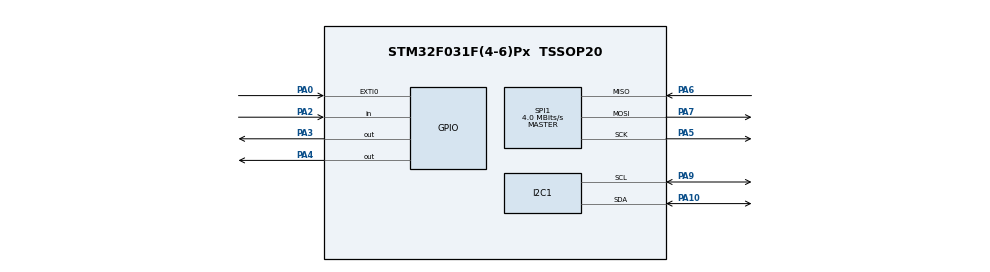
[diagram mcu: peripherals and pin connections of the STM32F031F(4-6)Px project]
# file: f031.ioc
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ADC.ClockPrescaler=ADC_CLOCK_ASYNC_DIV1
ADC.ContinuousConvMode=ENABLE
ADC.DMAContinuousRequests=DISABLE
ADC.DataAlign=ADC_DATAALIGN_RIGHT
ADC.DiscontinuousConvMode=DISABLE
ADC.EOCSelection=ADC_EOC_SINGLE_CONV
ADC.EnableAnalogWatchDog=false
ADC.ExternalTrigConv=ADC_SOFTWARE_START
ADC.ExternalTrigConvEdge=ADC_EXTERNALTRIGCONVEDGE_NONE
ADC.LowPowerAutoPowerOff=DISABLE
ADC.LowPowerAutoWait=DISABLE
ADC.Overrun=ADC_OVR_DATA_PRESERVED
ADC.Resolution=ADC_RESOLUTION_12B
ADC.SamplingTime=ADC_SAMPLETIME_7CYCLES_5
ADC.ScanConvMode=ADC_SCAN_DIRECTION_FORWARD
Dma.ADC.0.Direction=DMA_PERIPH_TO_MEMORY
Dma.ADC.0.Instance=DMA1_Channel1
Dma.ADC.0.MemDataAlignment=DMA_MDATAALIGN_WORD
Dma.ADC.0.MemInc=DMA_MINC_ENABLE
Dma.ADC.0.Mode=DMA_CIRCULAR
Dma.ADC.0.PeriphDataAlignment=DMA_PDATAALIGN_WORD
Dma.ADC.0.PeriphInc=DMA_PINC_DISABLE
Dma.ADC.0.Priority=DMA_PRIORITY_LOW
Dma.Request0=ADC
Mcu.Family=STM32F0
Mcu.Name=STM32F031F(4-6)Px
Mcu.Package=TSSOP20
NVIC.DMA1_Channel1_IRQn=true\:0\:0\:false\:false\:true\:false
NVIC.EXTI0_1_IRQn=true\:0\:0\:false\:true\:true\:1\:true
NVIC.RTC_IRQn=true\:0\:0\:false\:false\:true\:true
PA0.GPIO_PuPd=GPIO_PULLDOWN
PA0.Signal=GPXTI0
PA10.Mode=I2C
PA10.Signal=I2C1_SDA
PA13.Mode=Serial_Wire
PA13.Signal=SYS_SWDIO
PA14.Mode=Serial_Wire
PA14.Signal=SYS_SWCLK
PA2.Signal=GPIO_Input
PA3.Signal=GPIO_Output
PA4.Signal=GPIO_Output
PA5.Mode=Full_Duplex_Master
PA5.Signal=SPI1_SCK
PA6.Mode=Full_Duplex_Master
PA6.Signal=SPI1_MISO
PA7.Mode=Full_Duplex_Master
PA7.Signal=SPI1_MOSI
PA9.Mode=I2C
PA9.Signal=I2C1_SCL
ProjectManager.HeapSize=0x200
ProjectManager.StackSize=0x400
ProjectManager.TargetToolchain=SW4STM32
RCC.VDD_VALUE=3
RTC.Alarm=RTC_ALARM_A
RTC.Seconds_A=30
SPI1.CalculateBaudRate=4.0 MBits/s
SPI1.DataSize=SPI_DATASIZE_8BIT
SPI1.Direction=SPI_DIRECTION_2LINES
SPI1.Mode=SPI_MODE_MASTER
SPI1.VirtualType=VM_MASTER
VP_ADC_Vbat_Input.Mode=IN-Vbat
VP_RTC_VS_RTC_Activate.Mode=RTC_Enabled
VP_RTC_VS_RTC_Alarm_A_Intern.Mode=Alarm A
VP_RTC_VS_RTC_Calendar.Mode=RTC_Calendar
board=custom

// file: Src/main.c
/**
  ******************************************************************************
  * @file           : main.c
  * @brief          : Main program body
  ******************************************************************************
  ** This notice applies to any and all portions of this file
  * that are not between comment pairs USER CODE BEGIN and
  * USER CODE END. Other portions of this file, whether
  * inserted by the user or by software development tools
  * are owned by their respective copyright owners.
  *
  * COPYRIGHT(c) 2020 STMicroelectronics
  *
  * Redistribution and use in source and binary forms, with or without modification,
  * are permitted provided that the following conditions are met:
  *   1. Redistributions of source code must retain the above copyright notice,
  *      this list of conditions and the following disclaimer.
  *   2. Redistributions in binary form must reproduce the above copyright notice,
  *      this list of conditions and the following disclaimer in the documentation
  *      and/or other materials provided with the distribution.
  *   3. Neither the name of STMicroelectronics nor the names of its contributors
  *      may be used to endorse or promote products derived from this software
  *      without specific prior written permission.
  *
  * THIS SOFTWARE IS PROVIDED BY THE COPYRIGHT HOLDERS AND CONTRIBUTORS "AS IS"
  * AND ANY EXPRESS OR IMPLIED WARRANTIES, INCLUDING, BUT NOT LIMITED TO, THE
  * IMPLIED WARRANTIES OF MERCHANTABILITY AND FITNESS FOR A PARTICULAR PURPOSE ARE
  * DISCLAIMED. IN NO EVENT SHALL THE COPYRIGHT HOLDER OR CONTRIBUTORS BE LIABLE
  * FOR ANY DIRECT, INDIRECT, INCIDENTAL, SPECIAL, EXEMPLARY, OR CONSEQUENTIAL
  * DAMAGES (INCLUDING, BUT NOT LIMITED TO, PROCUREMENT OF SUBSTITUTE GOODS OR
  * SERVICES; LOSS OF USE, DATA, OR PROFITS; OR BUSINESS INTERRUPTION) HOWEVER
  * CAUSED AND ON ANY THEORY OF LIABILITY, WHETHER IN CONTRACT, STRICT LIABILITY,
  * OR TORT (INCLUDING NEGLIGENCE OR OTHERWISE) ARISING IN ANY WAY OUT OF THE USE
  * OF THIS SOFTWARE, EVEN IF ADVISED OF THE POSSIBILITY OF SUCH DAMAGE.
  *
  ******************************************************************************
  */
#include "main.h"
#include "stm32f0xx_hal.h"

/* USER CODE BEGIN Includes */
#include "bmp280.h"
#include <RFM69.h>

#define ENCRYPTKEY  "sampleEncryptKey"
/* USER CODE END Includes */

ADC_HandleTypeDef hadc;
DMA_HandleTypeDef hdma_adc;

I2C_HandleTypeDef hi2c1;

RTC_HandleTypeDef hrtc;

SPI_HandleTypeDef hspi1;

/* USER CODE BEGIN PV */
/* Private variables ---------------------------------------------------------*/
RTC_AlarmTypeDef setAlarm;
BMP280_HandleTypedef bmp280;

float pressure ,temperature ,humidity ,pas;
uint16_t size;
uint8_t Data[256];

uint32_t time = 0;

typedef struct {
  uint8_t command;
  uint8_t id;
  uint8_t status;
  uint16_t remote_command;
  int16_t data_power;
  int16_t data_1;
  int16_t data_2;
  int16_t data_3;
  int16_t data_4;
} TData;

TData theData;

uint16_t counter = 0;
uint32_t voltage = 0;
uint32_t adc_raw = 0;
double Vbat = 0;

/* USER CODE END PV */

void SystemClock_Config (void);

static void MX_GPIO_Init (void);

static void MX_DMA_Init (void);

static void MX_I2C1_Init (void);

static void MX_SPI1_Init (void);

static void MX_RTC_Init (void);

static void MX_ADC_Init (void);

static void MX_NVIC_Init (void);

/* USER CODE BEGIN PFP */
/* Private function prototypes -----------------------------------------------*/

/* USER CODE END PFP */

/* USER CODE BEGIN 0 */
void HAL_ADC_ConvCpltCallback (ADC_HandleTypeDef *hadc2) {
  if( hadc2->Instance == ADC1)
    voltage = adc_raw;
  voltage = HAL_ADC_GetValue (&hadc);

}

void Set_Alarm (uint8_t sec) {
  /**Enable the Alarm A
*/
  setAlarm.AlarmTime.Hours = 0x0;
  setAlarm.AlarmTime.Minutes = 0x0;
  setAlarm.AlarmTime.Seconds = sec;
  setAlarm.AlarmTime.SubSeconds = 0x0;
  setAlarm.AlarmTime.DayLightSaving = RTC_DAYLIGHTSAVING_NONE;
  setAlarm.AlarmTime.StoreOperation = RTC_STOREOPERATION_RESET;
  setAlarm.AlarmMask = RTC_ALARMMASK_NONE;
  setAlarm.AlarmSubSecondMask = RTC_ALARMSUBSECONDMASK_ALL;
  setAlarm.AlarmDateWeekDaySel = RTC_ALARMDATEWEEKDAYSEL_DATE;
  setAlarm.AlarmDateWeekDay = 0x1;
  setAlarm.Alarm = RTC_ALARM_A;
  if( HAL_RTC_SetAlarm_IT (&hrtc ,&setAlarm ,RTC_FORMAT_BCD) != HAL_OK ) {
    _Error_Handler (__FILE__ ,__LINE__);
  }

}

/* USER CODE END 0 */

int main (void) {
  /* USER CODE BEGIN 1 */
  PWR->CSR |= PWR_CSR_EWUP1;
  /* USER CODE END 1 */

  /* MCU Configuration----------------------------------------------------------*/

  /* Reset of all peripherals, Initializes the Flash interface and the Systick. */
  HAL_Init ();

  /* Configure the system clock */
  SystemClock_Config ();

  /* USER CODE BEGIN SysInit */

  /* Initialize all configured peripherals */
  MX_GPIO_Init ();
  MX_DMA_Init ();
  MX_I2C1_Init ();
  MX_SPI1_Init ();
  MX_RTC_Init ();
  MX_ADC_Init ();

  /* Initialize interrupts */
  MX_NVIC_Init ();
  /* USER CODE BEGIN 2 */
  bmp280.i2c = &hi2c1;
  bmp280_init_default_params (&bmp280.params);
  bmp280.addr = BMP280_I2C_ADDRESS_1;
  bmp280_init (&bmp280 ,&bmp280.params);

  bool bme280p = bmp280.id == BME280_CHIP_ID;
  RFM69_initialize (RF69_433MHZ ,55 ,100);
  RFM69_encrypt (ENCRYPTKEY);
  RFM69_setPowerLevel (21);
  RFM69_promiscuous (true);
  RFM69_sleep ();
  HAL_GPIO_WritePin (GPIOA ,GPIO_PIN_3 ,GPIO_PIN_SET);
  HAL_Delay (25);
  HAL_GPIO_WritePin (GPIOA ,GPIO_PIN_3 ,GPIO_PIN_RESET);
  HAL_ADCEx_Calibration_Start (&hadc);
  HAL_ADC_Start_DMA (&hadc ,&adc_raw ,1);
  time = HAL_GetTick ();
  theData.status = HAL_RTCEx_BKUPRead (&hrtc ,1);
  /* USER CODE END 2 */

  /* Infinite loop */
  /* USER CODE BEGIN WHILE */
  while ( 1 ) {

    if( HAL_GetTick () - time > 100 ) {
      Vbat = ( voltage / 4095.0 * 3.33 ) * 8.0;
      HAL_ADC_Start_DMA (&hadc ,&adc_raw ,1);
      time = HAL_GetTick ();
      bmp280_read_float (&bmp280 ,&temperature ,&pressure ,&humidity);
      counter ++;
    }

    if( counter > 10 ) {
      theData.status ++;
      HAL_RTCEx_BKUPWrite (&hrtc ,1 ,( uint32_t ) theData.status);
      counter = 0;
      pas = pressure * 0.00750063755419211;
      theData.command = 3;
      theData.data_1 = temperature;
      theData.data_2 = pas;
      theData.data_3 = humidity;
      theData.id = 6;
      theData.data_power = Vbat * 100;
      bmp280_sleep (&bmp280.params);
      Set_Alarm (0x25);
      HAL_GPIO_WritePin (GPIOA ,GPIO_PIN_3 ,GPIO_PIN_SET);
      HAL_Delay (25);
      HAL_GPIO_WritePin (GPIOA ,GPIO_PIN_3 ,GPIO_PIN_RESET);
      RFM69_send (100 ,( const void * ) ( &theData ) ,sizeof (theData) ,false);
      RFM69_sleep ();
      PWR->CSR |= PWR_CSR_EWUP1;
      PWR->CSR |= PWR_CSR_WUF;
      PWR->CR |= PWR_CR_CWUF;
      PWR->CR = PWR_CR_PDDS | PWR_CR_CWUF;
      // DBGMCU->CR |= ( DBGMCU_CR_DBG_STOP | DBGMCU_CR_DBG_STANDBY);
      HAL_PWR_EnterSTANDBYMode ();
    }

    /* USER CODE END WHILE */

  }

}

void SystemClock_Config (void) {

  RCC_OscInitTypeDef RCC_OscInitStruct;
  RCC_ClkInitTypeDef RCC_ClkInitStruct;
  RCC_PeriphCLKInitTypeDef PeriphClkInit;

  /**Initializes the CPU, AHB and APB busses clocks
  */
  RCC_OscInitStruct.OscillatorType = RCC_OSCILLATORTYPE_HSI | RCC_OSCILLATORTYPE_HSI14
                                     | RCC_OSCILLATORTYPE_LSI;
  RCC_OscInitStruct.HSIState = RCC_HSI_ON;
  RCC_OscInitStruct.HSI14State = RCC_HSI14_ON;
  RCC_OscInitStruct.HSICalibrationValue = 16;
  RCC_OscInitStruct.HSI14CalibrationValue = 16;
  RCC_OscInitStruct.LSIState = RCC_LSI_ON;
  RCC_OscInitStruct.PLL.PLLState = RCC_PLL_NONE;
  if( HAL_RCC_OscConfig (&RCC_OscInitStruct) != HAL_OK ) {
    _Error_Handler (__FILE__ ,__LINE__);
  }

  /**Initializes the CPU, AHB and APB busses clocks
  */
  RCC_ClkInitStruct.ClockType = RCC_CLOCKTYPE_HCLK | RCC_CLOCKTYPE_SYSCLK
                                | RCC_CLOCKTYPE_PCLK1;
  RCC_ClkInitStruct.SYSCLKSource = RCC_SYSCLKSOURCE_HSI;
  RCC_ClkInitStruct.AHBCLKDivider = RCC_SYSCLK_DIV1;
  RCC_ClkInitStruct.APB1CLKDivider = RCC_HCLK_DIV1;

  if( HAL_RCC_ClockConfig (&RCC_ClkInitStruct ,FLASH_LATENCY_0) != HAL_OK ) {
    _Error_Handler (__FILE__ ,__LINE__);
  }

  PeriphClkInit.PeriphClockSelection = RCC_PERIPHCLK_I2C1 | RCC_PERIPHCLK_RTC;
  PeriphClkInit.I2c1ClockSelection = RCC_I2C1CLKSOURCE_HSI;
  PeriphClkInit.RTCClockSelection = RCC_RTCCLKSOURCE_LSI;
  if( HAL_RCCEx_PeriphCLKConfig (&PeriphClkInit) != HAL_OK ) {
    _Error_Handler (__FILE__ ,__LINE__);
  }

  /**Configure the Systick interrupt time
  */
  HAL_SYSTICK_Config (HAL_RCC_GetHCLKFreq () / 1000);

  /**Configure the Systick
  */
  HAL_SYSTICK_CLKSourceConfig (SYSTICK_CLKSOURCE_HCLK);

  /* SysTick_IRQn interrupt configuration */
  HAL_NVIC_SetPriority (SysTick_IRQn ,0 ,0);
}

/**
  * @brief NVIC Configuration.
  * @retval None
  */
static void MX_NVIC_Init (void) {
  /* EXTI0_1_IRQn interrupt configuration */
  HAL_NVIC_SetPriority (EXTI0_1_IRQn ,0 ,0);
  HAL_NVIC_EnableIRQ (EXTI0_1_IRQn);
}

/* ADC init function */
static void MX_ADC_Init (void) {

  ADC_ChannelConfTypeDef sConfig;

  /**Configure the global features of the ADC (Clock, Resolution, Data Alignment and number of conversion)
  */
  hadc.Instance = ADC1;
  hadc.Init.ClockPrescaler = ADC_CLOCK_ASYNC_DIV1;
  hadc.Init.Resolution = ADC_RESOLUTION_12B;
  hadc.Init.DataAlign = ADC_DATAALIGN_RIGHT;
  hadc.Init.ScanConvMode = ADC_SCAN_DIRECTION_FORWARD;
  hadc.Init.EOCSelection = ADC_EOC_SINGLE_CONV;
  hadc.Init.LowPowerAutoWait = DISABLE;
  hadc.Init.LowPowerAutoPowerOff = DISABLE;
  hadc.Init.ContinuousConvMode = ENABLE;
  hadc.Init.DiscontinuousConvMode = DISABLE;
  hadc.Init.ExternalTrigConv = ADC_SOFTWARE_START;
  hadc.Init.ExternalTrigConvEdge = ADC_EXTERNALTRIGCONVEDGE_NONE;
  hadc.Init.DMAContinuousRequests = DISABLE;
  hadc.Init.Overrun = ADC_OVR_DATA_PRESERVED;
  if( HAL_ADC_Init (&hadc) != HAL_OK ) {
    _Error_Handler (__FILE__ ,__LINE__);
  }

  /**Configure for the selected ADC regular channel to be converted.
  */
  sConfig.Channel = ADC_CHANNEL_VBAT;
  sConfig.Rank = ADC_RANK_CHANNEL_NUMBER;
  sConfig.SamplingTime = ADC_SAMPLETIME_7CYCLES_5;
  if( HAL_ADC_ConfigChannel (&hadc ,&sConfig) != HAL_OK ) {
    _Error_Handler (__FILE__ ,__LINE__);
  }

}

/* I2C1 init function */
static void MX_I2C1_Init (void) {

  hi2c1.Instance = I2C1;
  hi2c1.Init.Timing = 0x2000090E;
  hi2c1.Init.OwnAddress1 = 0;
  hi2c1.Init.AddressingMode = I2C_ADDRESSINGMODE_7BIT;
  hi2c1.Init.DualAddressMode = I2C_DUALADDRESS_DISABLE;
  hi2c1.Init.OwnAddress2 = 0;
  hi2c1.Init.OwnAddress2Masks = I2C_OA2_NOMASK;
  hi2c1.Init.GeneralCallMode = I2C_GENERALCALL_DISABLE;
  hi2c1.Init.NoStretchMode = I2C_NOSTRETCH_DISABLE;
  if( HAL_I2C_Init (&hi2c1) != HAL_OK ) {
    _Error_Handler (__FILE__ ,__LINE__);
  }

  /**Configure Analogue filter
  */
  if( HAL_I2CEx_ConfigAnalogFilter (&hi2c1 ,I2C_ANALOGFILTER_ENABLE) != HAL_OK ) {
    _Error_Handler (__FILE__ ,__LINE__);
  }

  /**Configure Digital filter
  */
  if( HAL_I2CEx_ConfigDigitalFilter (&hi2c1 ,0) != HAL_OK ) {
    _Error_Handler (__FILE__ ,__LINE__);
  }

}

/* RTC init function */
static void MX_RTC_Init (void) {

  RTC_TimeTypeDef sTime;
  RTC_DateTypeDef sDate;
  RTC_AlarmTypeDef sAlarm;

  /**Initialize RTC Only
  */
  hrtc.Instance = RTC;
  hrtc.Init.HourFormat = RTC_HOURFORMAT_24;
  hrtc.Init.AsynchPrediv = 127;
  hrtc.Init.SynchPrediv = 255;
  hrtc.Init.OutPut = RTC_OUTPUT_DISABLE;
  hrtc.Init.OutPutPolarity = RTC_OUTPUT_POLARITY_HIGH;
  hrtc.Init.OutPutType = RTC_OUTPUT_TYPE_OPENDRAIN;
  if( HAL_RTC_Init (&hrtc) != HAL_OK ) {
    _Error_Handler (__FILE__ ,__LINE__);
  }

  /**Initialize RTC and set the Time and Date
  */
  sTime.Hours = 0x0;
  sTime.Minutes = 0x0;
  sTime.Seconds = 0x0;
  sTime.DayLightSaving = RTC_DAYLIGHTSAVING_NONE;
  sTime.StoreOperation = RTC_STOREOPERATION_RESET;
  if( HAL_RTC_SetTime (&hrtc ,&sTime ,RTC_FORMAT_BCD) != HAL_OK ) {
    _Error_Handler (__FILE__ ,__LINE__);
  }

  sDate.WeekDay = RTC_WEEKDAY_MONDAY;
  sDate.Month = RTC_MONTH_JANUARY;
  sDate.Date = 0x1;
  sDate.Year = 0x0;

  if( HAL_RTC_SetDate (&hrtc ,&sDate ,RTC_FORMAT_BCD) != HAL_OK ) {
    _Error_Handler (__FILE__ ,__LINE__);
  }

  /**Enable the Alarm A
  */
  sAlarm.AlarmTime.Hours = 0x0;
  sAlarm.AlarmTime.Minutes = 0x0;
  sAlarm.AlarmTime.Seconds = 0x30;
  sAlarm.AlarmTime.SubSeconds = 0x0;
  sAlarm.AlarmTime.DayLightSaving = RTC_DAYLIGHTSAVING_NONE;
  sAlarm.AlarmTime.StoreOperation = RTC_STOREOPERATION_RESET;
  sAlarm.AlarmMask = RTC_ALARMMASK_NONE;
  sAlarm.AlarmSubSecondMask = RTC_ALARMSUBSECONDMASK_ALL;
  sAlarm.AlarmDateWeekDaySel = RTC_ALARMDATEWEEKDAYSEL_DATE;
  sAlarm.AlarmDateWeekDay = 0x1;
  sAlarm.Alarm = RTC_ALARM_A;
  if( HAL_RTC_SetAlarm_IT (&hrtc ,&sAlarm ,RTC_FORMAT_BCD) != HAL_OK ) {
    _Error_Handler (__FILE__ ,__LINE__);
  }

}

/* SPI1 init function */
static void MX_SPI1_Init (void) {

  /* SPI1 parameter configuration*/
  hspi1.Instance = SPI1;
  hspi1.Init.Mode = SPI_MODE_MASTER;
  hspi1.Init.Direction = SPI_DIRECTION_2LINES;
  hspi1.Init.DataSize = SPI_DATASIZE_8BIT;
  hspi1.Init.CLKPolarity = SPI_POLARITY_LOW;
  hspi1.Init.CLKPhase = SPI_PHASE_1EDGE;
  hspi1.Init.NSS = SPI_NSS_SOFT;
  hspi1.Init.BaudRatePrescaler = SPI_BAUDRATEPRESCALER_2;
  hspi1.Init.FirstBit = SPI_FIRSTBIT_MSB;
  hspi1.Init.TIMode = SPI_TIMODE_DISABLE;
  hspi1.Init.CRCCalculation = SPI_CRCCALCULATION_DISABLE;
  hspi1.Init.CRCPolynomial = 7;
  hspi1.Init.CRCLength = SPI_CRC_LENGTH_DATASIZE;
  hspi1.Init.NSSPMode = SPI_NSS_PULSE_ENABLE;
  if( HAL_SPI_Init (&hspi1) != HAL_OK ) {
    _Error_Handler (__FILE__ ,__LINE__);
  }

}

static void MX_DMA_Init (void) {
  /* DMA controller clock enable */
  __HAL_RCC_DMA1_CLK_ENABLE();

  /* DMA interrupt init */
  /* DMA1_Channel1_IRQn interrupt configuration */
  HAL_NVIC_SetPriority (DMA1_Channel1_IRQn ,0 ,0);
  HAL_NVIC_EnableIRQ (DMA1_Channel1_IRQn);

}

/** Configure pins as
        * Analog
        * Input
        * Output
        * EVENT_OUT
        * EXTI
*/
static void MX_GPIO_Init (void) {

  GPIO_InitTypeDef GPIO_InitStruct;

  /* GPIO Ports Clock Enable */
  __HAL_RCC_GPIOA_CLK_ENABLE();

  /*Configure GPIO pin Output Level */
  HAL_GPIO_WritePin (GPIOA ,GPIO_PIN_3 | GPIO_PIN_4 ,GPIO_PIN_RESET);

  /*Configure GPIO pin : PA0 */
  GPIO_InitStruct.Pin = GPIO_PIN_0;
  GPIO_InitStruct.Mode = GPIO_MODE_IT_RISING;
  GPIO_InitStruct.Pull = GPIO_PULLDOWN;
  HAL_GPIO_Init (GPIOA ,&GPIO_InitStruct);

  /*Configure GPIO pin : PA2 */
  GPIO_InitStruct.Pin = GPIO_PIN_2;
  GPIO_InitStruct.Mode = GPIO_MODE_INPUT;
  GPIO_InitStruct.Pull = GPIO_NOPULL;
  HAL_GPIO_Init (GPIOA ,&GPIO_InitStruct);

  /*Configure GPIO pins : PA3 PA4 */
  GPIO_InitStruct.Pin = GPIO_PIN_3 | GPIO_PIN_4;
  GPIO_InitStruct.Mode = GPIO_MODE_OUTPUT_PP;
  GPIO_InitStruct.Pull = GPIO_NOPULL;
  GPIO_InitStruct.Speed = GPIO_SPEED_FREQ_LOW;
  HAL_GPIO_Init (GPIOA ,&GPIO_InitStruct);

}

void _Error_Handler (char *file ,int line) {
  while ( 1 ) {
  }
}

/************************ (C) COPYRIGHT STMicroelectronics *****END OF FILE****/
